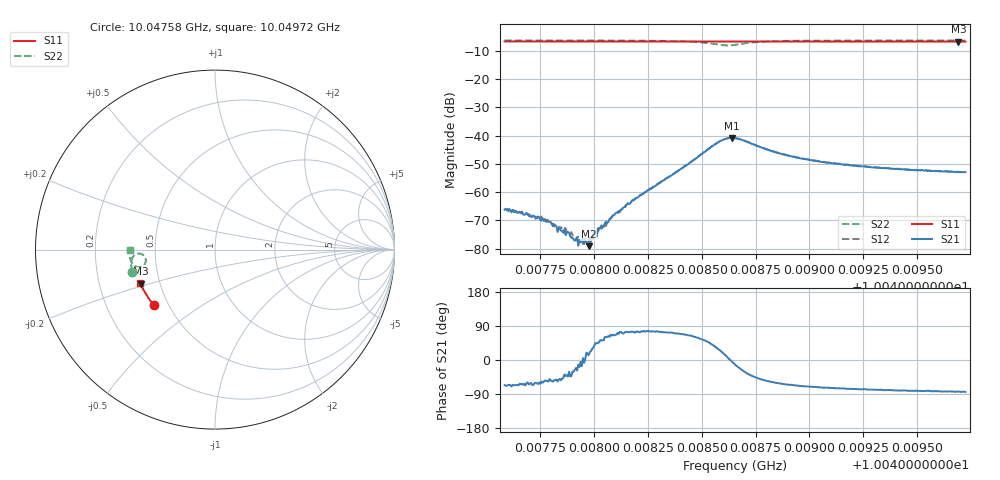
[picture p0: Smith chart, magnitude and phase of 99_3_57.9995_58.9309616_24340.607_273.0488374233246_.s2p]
#  HZ  S  RI  R  50.00
! Rohde & Schwarz Vector Network Analyzer
! Rohde-Schwarz,ZNB20-2Port,1311601062101988,3.16
! Created: UTC 3/21/2024, 12:54:44 AM
! freq[Hz]  re:S11  im:S11  re:S21  im:S21  re:S12  im:S12  re:S22  im:S22
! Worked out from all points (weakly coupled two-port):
!   401 points, 10.04758 GHz to 10.04972 GHz, reference 50 ohm
!   highest |S21| = -40.84 dB at 10.04864 GHz (marker M1); lowest = -79.1 dB at 10.04798 GHz (marker M2)
!   lowest |S11| = -6.8 dB at 10.04969 GHz (marker M3), VSWR 2.68, Z = 19.4 - j9.31 ohm
!   |S11| at or under -10 dB: nowhere
!   |S22| runs from -8.2 to -6.4 dB; largest |S21 - S12| = 0.00063
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1.0047585e10  -0.3417 -0.3079  0.000197 -0.000449  0.000214 -0.000456  -0.4614 -0.1224
1.0047686e10  -0.3461 -0.3025  0.000205 -0.000378  0.000203 -0.000363  -0.4629 -0.1151
1.0047788e10  -0.3505 -0.2973  0.000169 -0.000259  0.000182 -0.000246  -0.4643 -0.1075
1.0047858e10  -0.3534 -0.2937  0.000131 -0.000139  0.000159 -0.00015  -0.4651 -0.102
1.0047874e10  -0.3539 -0.2928  0.000149 -0.000127  0.000152 -0.000123  -0.4653 -0.1006
1.0047917e10  -0.3556 -0.2905  0.000131 -5.01e-05  0.000142 -4.91e-05  -0.4658 -0.0972
1.0047943e10  -0.3568 -0.2893  0.000136 -3.96e-05  0.000154 6.74e-06  -0.466 -0.0951
1.0047959e10  -0.3574 -0.2882  0.000152 6.26e-06  0.000126 4.2e-05  -0.4661 -0.0937
1.0047975e10  -0.3581 -0.2874  0.000108 2.41e-05  0.00013 6.13e-05  -0.4664 -0.0924
1.0048007e10  -0.3593 -0.2857  0.000146 0.000142  0.000142 0.000121  -0.4666 -0.0897
1.0048018e10  -0.3598 -0.2851  0.000162 0.000164  0.00012 0.000161  -0.4666 -0.0887
1.0048045e10  -0.3608 -0.2837  0.000157 0.000199  0.00013 0.000205  -0.4667 -0.0862
1.0048093e10  -0.3627 -0.2811  0.000164 0.000356  0.000122 0.000374  -0.467 -0.0818
1.0048302e10  -0.3709 -0.2699  0.00038 0.00137  0.000313 0.00143  -0.4653 -0.0588
1.0048574e10  -0.3801 -0.2545  0.00648 0.00378  0.00626 0.00421  -0.4045 -0.027
1.0048639e10  -0.3819 -0.2512  0.00907 -0.000556  0.00908 4.18e-05  -0.3865 -0.0684
1.0048655e10  -0.3824 -0.2504  0.00879 -0.00186  0.00892 -0.00131  -0.3909 -0.0796
1.0048853e10  -0.3898 -0.2396  0.0024 -0.00429  0.0027 -0.00418  -0.4577 -0.0816
1.0049013e10  -0.3952 -0.2303  0.0012 -0.00346  0.00144 -0.00337  -0.4687 -0.0608
1.0049372e10  -0.4061 -0.2093  0.000497 -0.0026  0.000641 -0.00253  -0.4749 -0.0278
1.0049693e10  -0.4148 -0.1897  0.000246 -0.00226  0.00036 -0.00225  -0.4761 -0.0033
1.0049725e10  -0.4157 -0.1879  0.000211 -0.00225  0.00033 -0.0022  -0.476 -0.00094
